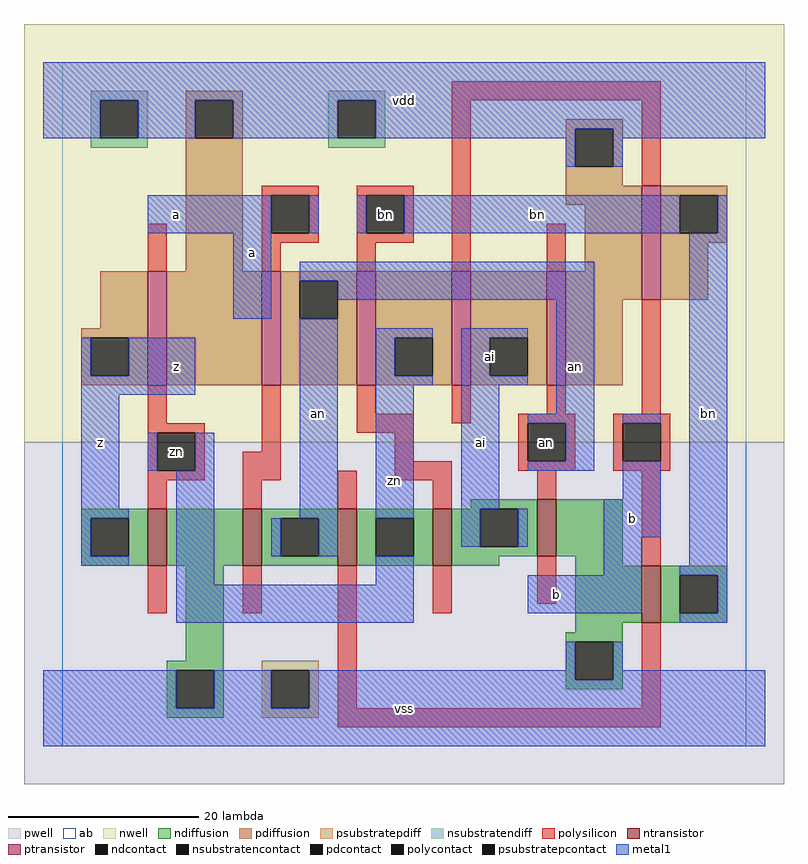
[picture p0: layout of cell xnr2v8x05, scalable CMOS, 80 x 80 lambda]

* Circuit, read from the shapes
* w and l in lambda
.subckt xnr2v8x05 a ai an b bn vdd vss z zn
M1 vss zn z vss nfet w=6 l=2
M2 an a vss vss nfet w=6 l=2
M3 zn b an vss nfet w=6 l=2
M4 ai bn zn vss nfet w=6 l=2
M5 vss an ai vss nfet w=6 l=2
M6 bn b vss vss nfet w=6 l=2
M7 vdd zn z vdd pfet w=12 l=2
M8 an a vdd vdd pfet w=12 l=2
M9 zn bn an vdd pfet w=12 l=2
M10 ai b zn vdd pfet w=12 l=2
M11 vdd an ai vdd pfet w=12 l=2
M12 bn b vdd vdd pfet w=12 l=2
.ends

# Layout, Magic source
magic
tech scmos
<< ab >>
rect 0 0 72 72
<< pwell >>
rect -4 -4 76 32
<< nwell >>
rect -4 32 76 76
<< polysilicon >>
rect 9 50 11 55
rect 41 68 63 70
rect 21 58 27 59
rect 21 54 22 58
rect 26 54 27 58
rect 21 53 27 54
rect 31 58 37 59
rect 31 54 32 58
rect 36 54 37 58
rect 31 53 37 54
rect 21 50 23 53
rect 31 50 33 53
rect 41 50 43 68
rect 61 59 63 68
rect 51 50 53 55
rect 9 34 11 38
rect 9 33 15 34
rect 9 29 10 33
rect 14 29 15 33
rect 21 31 23 38
rect 31 35 33 38
rect 31 33 37 35
rect 41 34 43 38
rect 51 35 53 38
rect 61 35 63 47
rect 48 34 54 35
rect 9 28 15 29
rect 19 28 23 31
rect 35 30 37 33
rect 48 30 49 34
rect 53 30 54 34
rect 9 25 11 28
rect 19 25 21 28
rect 29 25 31 29
rect 35 28 41 30
rect 48 29 54 30
rect 58 34 64 35
rect 58 30 59 34
rect 63 30 64 34
rect 58 29 64 30
rect 39 25 41 28
rect 50 26 52 29
rect 9 14 11 19
rect 19 14 21 19
rect 29 4 31 19
rect 39 14 41 19
rect 50 15 52 20
rect 61 19 63 29
rect 61 4 63 13
rect 29 2 63 4
<< ndiffusion >>
rect 43 25 50 26
rect 2 24 9 25
rect 2 20 3 24
rect 7 20 9 24
rect 2 19 9 20
rect 11 19 19 25
rect 21 24 29 25
rect 21 20 23 24
rect 27 20 29 24
rect 21 19 29 20
rect 31 24 39 25
rect 31 20 33 24
rect 37 20 39 24
rect 31 19 39 20
rect 41 21 44 25
rect 48 21 50 25
rect 41 20 50 21
rect 52 20 59 26
rect 41 19 46 20
rect 13 9 17 19
rect 11 8 17 9
rect 11 4 12 8
rect 16 4 17 8
rect 11 3 17 4
rect 54 19 59 20
rect 54 13 61 19
rect 63 18 70 19
rect 63 14 65 18
rect 69 14 70 18
rect 63 13 70 14
rect 54 12 59 13
rect 53 11 59 12
rect 53 7 54 11
rect 58 7 59 11
rect 53 6 59 7
<< pdiffusion >>
rect 13 68 19 69
rect 13 64 14 68
rect 18 64 19 68
rect 13 50 19 64
rect 53 65 59 66
rect 53 61 54 65
rect 58 61 59 65
rect 53 59 59 61
rect 53 57 61 59
rect 55 50 61 57
rect 4 44 9 50
rect 2 43 9 44
rect 2 39 3 43
rect 7 39 9 43
rect 2 38 9 39
rect 11 38 21 50
rect 23 49 31 50
rect 23 45 25 49
rect 29 45 31 49
rect 23 38 31 45
rect 33 43 41 50
rect 33 39 35 43
rect 39 39 41 43
rect 33 38 41 39
rect 43 43 51 50
rect 43 39 45 43
rect 49 39 51 43
rect 43 38 51 39
rect 53 47 61 50
rect 63 58 70 59
rect 63 54 65 58
rect 69 54 70 58
rect 63 53 70 54
rect 63 47 68 53
rect 53 38 59 47
<< metal1 >>
rect -2 68 74 72
rect -2 64 4 68
rect 8 64 14 68
rect 18 64 29 68
rect 33 65 74 68
rect 33 64 54 65
rect 53 61 54 64
rect 58 64 74 65
rect 58 61 59 64
rect 9 54 22 58
rect 26 54 27 58
rect 31 54 32 58
rect 36 54 65 58
rect 69 54 70 58
rect 18 45 22 54
rect 25 49 56 51
rect 29 47 56 49
rect 2 39 3 43
rect 7 39 14 43
rect 2 37 14 39
rect 2 25 6 37
rect 9 29 10 33
rect 14 29 16 33
rect 2 24 7 25
rect 2 20 3 24
rect 2 19 7 20
rect 12 17 16 29
rect 25 24 29 45
rect 22 20 23 24
rect 27 20 29 24
rect 33 43 39 44
rect 33 39 35 43
rect 33 38 39 39
rect 42 43 49 44
rect 42 39 45 43
rect 42 38 49 39
rect 33 24 37 38
rect 42 25 46 38
rect 52 35 56 47
rect 49 34 56 35
rect 53 30 56 34
rect 49 29 56 30
rect 59 34 63 35
rect 59 26 63 30
rect 42 21 44 25
rect 48 21 49 25
rect 57 22 63 26
rect 33 17 37 20
rect 57 18 61 22
rect 66 19 70 54
rect 12 13 37 17
rect 49 14 61 18
rect 65 18 70 19
rect 69 14 70 18
rect 65 13 70 14
rect 53 8 54 11
rect -2 4 12 8
rect 16 4 22 8
rect 26 7 54 8
rect 58 8 59 11
rect 58 7 74 8
rect 26 4 74 7
rect -2 0 74 4
<< ntransistor >>
rect 9 19 11 25
rect 19 19 21 25
rect 29 19 31 25
rect 39 19 41 25
rect 50 20 52 26
rect 61 13 63 19
<< ptransistor >>
rect 9 38 11 50
rect 21 38 23 50
rect 31 38 33 50
rect 41 38 43 50
rect 51 38 53 50
rect 61 47 63 59
<< polycontact >>
rect 22 54 26 58
rect 32 54 36 58
rect 10 29 14 33
rect 49 30 53 34
rect 59 30 63 34
<< ndcontact >>
rect 3 20 7 24
rect 23 20 27 24
rect 33 20 37 24
rect 44 21 48 25
rect 12 4 16 8
rect 65 14 69 18
rect 54 7 58 11
<< pdcontact >>
rect 14 64 18 68
rect 54 61 58 65
rect 3 39 7 43
rect 25 45 29 49
rect 35 39 39 43
rect 45 39 49 43
rect 65 54 69 58
<< psubstratepcontact >>
rect 22 4 26 8
<< nsubstratencontact >>
rect 4 64 8 68
rect 29 64 33 68
<< psubstratepdiff >>
rect 21 8 27 9
rect 21 4 22 8
rect 26 4 27 8
rect 21 3 27 4
<< nsubstratendiff >>
rect 3 68 9 69
rect 3 64 4 68
rect 8 64 9 68
rect 3 63 9 64
rect 28 68 34 69
rect 28 64 29 68
rect 33 64 34 68
rect 28 63 34 64
<< labels >>
rlabel polycontact 12 31 12 31 6 zn
rlabel polycontact 34 56 34 56 6 bn
rlabel polycontact 51 32 51 32 6 an
rlabel polycontact 12 31 12 31 6 zn
rlabel metal1 4 32 4 32 6 z
rlabel metal1 12 40 12 40 6 z
rlabel metal1 12 56 12 56 6 a
rlabel metal1 27 35 27 35 6 an
rlabel metal1 20 52 20 52 6 a
rlabel metal1 36 4 36 4 6 vss
rlabel metal1 52 16 52 16 6 b
rlabel metal1 45 41 45 41 6 ai
rlabel metal1 44 32 44 32 6 ai
rlabel metal1 35 28 35 28 6 zn
rlabel metal1 36 68 36 68 6 vdd
rlabel metal1 60 24 60 24 6 b
rlabel metal1 54 40 54 40 6 an
rlabel metal1 50 56 50 56 6 bn
rlabel metal1 68 35 68 35 6 bn
<< end >>
